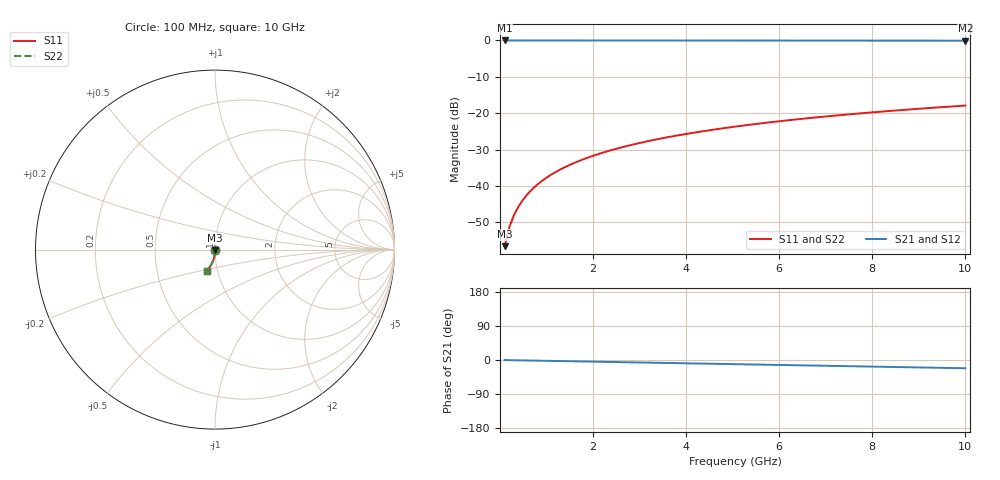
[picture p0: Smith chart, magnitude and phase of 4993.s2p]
# Hz S RI R 50.00
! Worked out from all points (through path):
!   100 points, 100 MHz to 10 GHz, reference 50 ohm
!   highest |S21| = -0.01 dB at 100 MHz (marker M1); lowest = -0.1 dB at 10 GHz (marker M2)
!   group delay of S21, straight-line fit = 6.05 ps
!   lowest |S11| = -56.5 dB at 100 MHz (marker M3), VSWR 1.00, Z = 50.1 - j0.13 ohm
!   |S11| at or under -10 dB: start of sweep to end of sweep
!   |S22| runs from -56.5 to -17.9 dB; largest |S21 - S12| = 0
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1e8  0.000722 -0.0013  0.9993 -0.00379  0.9993 -0.00379  0.000722 -0.0013
2e8  0.00071 -0.0026  0.9992 -0.00758  0.9992 -0.00758  0.00071 -0.0026
3e8  0.000686 -0.0039  0.9992 -0.0114  0.9992 -0.0114  0.000686 -0.0039
4e8  0.000652 -0.00521  0.9991 -0.0152  0.9991 -0.0152  0.000652 -0.00521
5e8  0.000608 -0.00651  0.999 -0.019  0.999 -0.019  0.000608 -0.00651
6e8  0.000554 -0.00781  0.9989 -0.0228  0.9989 -0.0228  0.000554 -0.00781
7e8  0.000489 -0.00911  0.9988 -0.0265  0.9988 -0.0265  0.000489 -0.00911
8e8  0.000415 -0.0104  0.9987 -0.0303  0.9987 -0.0303  0.000415 -0.0104
9e8  0.00033 -0.0117  0.9986 -0.0341  0.9986 -0.0341  0.00033 -0.0117
1.1e9  0.000131 -0.0143  0.9982 -0.0417  0.9982 -0.0417  0.000131 -0.0143
1.4e9  -0.000241 -0.0182  0.9976 -0.0531  0.9976 -0.0531  -0.000241 -0.0182
1.8e9  -0.000877 -0.0234  0.9966 -0.0682  0.9966 -0.0682  -0.000877 -0.0234
2.1e9  -0.00146 -0.0272  0.9956 -0.0796  0.9956 -0.0796  -0.00146 -0.0272
2.5e9  -0.00237 -0.0324  0.9941 -0.0947  0.9941 -0.0947  -0.00237 -0.0324
2.9e9  -0.00343 -0.0375  0.9924 -0.1097  0.9924 -0.1097  -0.00343 -0.0375
3.4e9  -0.00499 -0.0438  0.9898 -0.1285  0.9898 -0.1285  -0.00499 -0.0438
4.2e9  -0.00797 -0.0539  0.9849 -0.1585  0.9849 -0.1585  -0.00797 -0.0539
5.1e9  -0.0121 -0.0649  0.9782 -0.192  0.9782 -0.192  -0.0121 -0.0649
5.9e9  -0.0163 -0.0745  0.9712 -0.2215  0.9712 -0.2215  -0.0163 -0.0745
6.7e9  -0.0211 -0.0838  0.9632 -0.2508  0.9632 -0.2508  -0.0211 -0.0838
8.4e9  -0.0332 -0.1024  0.9429 -0.3118  0.9429 -0.3118  -0.0332 -0.1024
1e10  -0.0467 -0.1184  0.92 -0.3676  0.92 -0.3676  -0.0467 -0.1184
